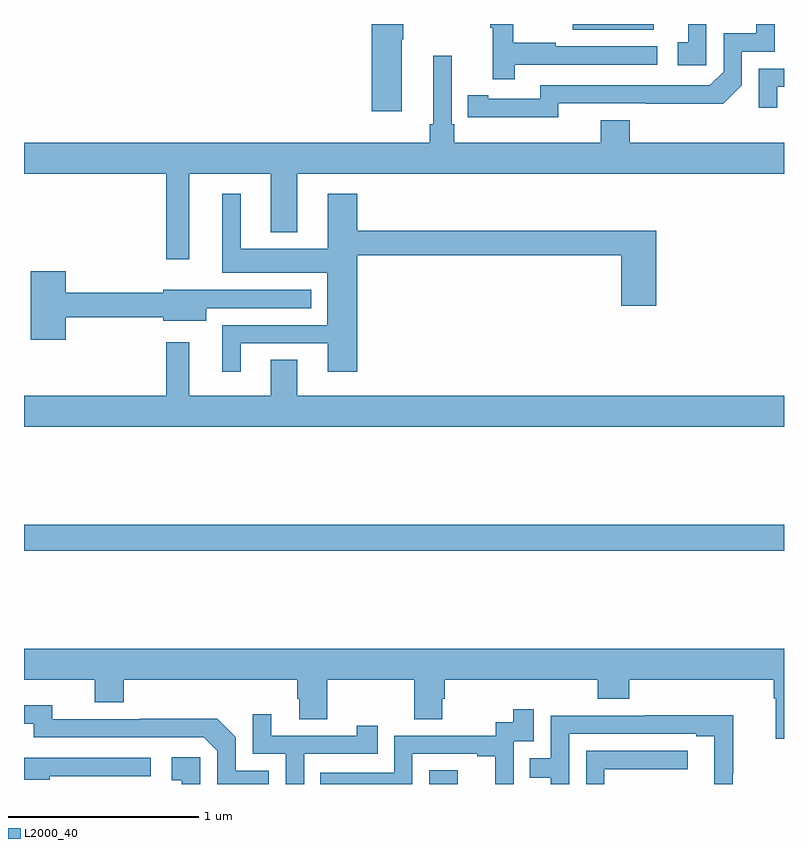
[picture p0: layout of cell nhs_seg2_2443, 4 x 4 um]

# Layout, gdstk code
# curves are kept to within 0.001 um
import gdstk
lib = gdstk.Library(unit=1e-6, precision=1e-09)
def R(c, l, rs):  # rectangles x0, y0, x1, y1
    for r in rs: c.add(gdstk.rectangle(r[:2], r[2:], *l))
def P(c, l, *ps):  # polygons
    for p in ps: c.add(gdstk.Polygon(p, *l))
L2000_40 = (2000, 40)

nhs_seg2_2443 = lib.new_cell('nhs_seg2_2443')
R(nhs_seg2_2443, L2000_40, [(241.134,601.8,241.282,601.873), (239,603.028,243,603.164), (241.887,605.771,242.314,605.8)])
P(nhs_seg2_2443, L2000_40, [(241.812,605.382),(242.68,605.381),(242.778,605.478),(242.778,605.655),(242.952,605.655),(242.952,605.8),(242.855,605.8),(242.855,605.751),(242.682,605.751),(242.682,605.55),(242.61,605.478),(241.716,605.478),(241.716,605.406),(241.444,605.406),(241.444,605.426),(241.336,605.426),(241.336,605.31),(241.812,605.309)],
  [(240.988,605.719),(240.996,605.719),(240.996,605.8),(240.83,605.8),(240.83,605.34),(240.988,605.34)],
  [(241.583,605.586),(242.332,605.586),(242.332,605.682),(241.799,605.682),(241.799,605.702),(241.576,605.702),(241.576,605.8),(241.455,605.8),(241.455,605.779),(241.466,605.779),(241.466,605.508),(241.583,605.508)],
  [(242.592,605.8),(242.495,605.8),(242.495,605.703),(242.442,605.703),(242.442,605.583),(242.592,605.583)],
  [(239.869,605.012),(240.299,605.012),(240.299,604.703),(240.439,604.703),(240.439,605.012),(243,605.012),(243,605.176),(242.189,605.176),(242.189,605.293),(242.036,605.293),(242.036,605.176),(241.265,605.176),(241.265,605.272),(241.251,605.272),(241.251,605.632),(241.154,605.632),(241.154,605.272),(241.135,605.272),(241.135,605.176),(239,605.176),(239,605.012),(239.748,605.012),(239.748,604.563),(239.869,604.563)],
  [(242.965,605.469),(243,605.469),(243,605.565),(242.868,605.565),(242.868,605.358),(242.965,605.358)],
  [(240.142,604.119),(240.599,604.119),(240.599,603.969),(240.755,603.969),(240.755,604.582),(242.144,604.582),(242.144,604.317),(242.327,604.317),(242.327,604.711),(240.755,604.711),(240.755,604.906),(240.599,604.906),(240.599,604.618),(240.142,604.618),(240.142,604.906),(240.044,604.906),(240.044,604.49),(240.596,604.49),(240.596,604.215),(240.044,604.215),(240.044,603.969),(240.142,603.969)],
  [(239.219,604.257),(239.732,604.257),(239.732,604.238),(239.959,604.238),(239.959,604.305),(240.511,604.305),(240.511,604.401),(239.955,604.401),(239.955,604.402),(239.732,604.402),(239.732,604.385),(239.219,604.385),(239.219,604.498),(239.036,604.498),(239.036,604.137),(239.219,604.137)],
  [(243,603.844),(240.439,603.844),(240.439,604.034),(240.299,604.034),(240.299,603.844),(239.869,603.844),(239.869,604.126),(239.748,604.126),(239.748,603.844),(239,603.844),(239,603.68),(243,603.68)],
  [(243,602.512),(239,602.512),(239,602.348),(239.372,602.348),(239.372,602.231),(239.525,602.231),(239.525,602.348),(240.437,602.348),(240.437,602.25),(240.449,602.25),(240.449,602.14),(240.597,602.14),(240.597,602.348),(241.054,602.348),(241.054,602.14),(241.201,602.14),(241.201,602.25),(241.214,602.25),(241.214,602.348),(242.021,602.348),(242.021,602.249),(242.186,602.249),(242.186,602.348),(242.945,602.348),(242.945,602.252),(242.957,602.252),(242.957,602.039),(243,602.039)],
  [(240.288,601.869),(240.114,601.869),(240.114,602.046),(240.016,602.144),(239.608,602.144),(239.608,602.142),(239.148,602.142),(239.148,602.215),(239,602.215),(239,602.118),(239.052,602.118),(239.052,602.046),(239.946,602.046),(240.018,601.974),(240.018,601.8),(240.288,601.8)],
  [(241.044,601.959),(241.385,601.959),(241.385,601.947),(241.481,601.947),(241.481,601.8),(241.578,601.8),(241.578,602.025),(241.683,602.025),(241.683,602.194),(241.575,602.194),(241.575,602.124),(241.482,602.124),(241.482,602.055),(240.948,602.055),(240.948,601.86),(240.559,601.86),(240.559,601.8),(241.044,601.8)],
  [(240.474,601.959),(240.863,601.959),(240.863,602.107),(240.752,602.107),(240.752,602.055),(240.301,602.055),(240.301,602.167),(240.204,602.167),(240.204,601.959),(240.378,601.959),(240.378,601.8),(240.474,601.8)],
  [(241.869,602.064),(242.537,602.064),(242.537,602.052),(242.634,602.052),(242.634,601.8),(242.73,601.8),(242.73,601.855),(242.733,601.855),(242.733,602.162),(242.269,602.162),(242.269,602.16),(241.773,602.16),(241.773,601.935),(241.663,601.935),(241.663,601.834),(241.773,601.834),(241.773,601.8),(241.869,601.8)],
  [(242.055,601.878),(242.494,601.878),(242.494,601.974),(241.959,601.974),(241.959,601.8),(242.055,601.8)],
  [(239.928,601.942),(239.778,601.942),(239.778,601.821),(239.831,601.821),(239.831,601.8),(239.928,601.8)],
  [(239.135,601.842),(239.668,601.842),(239.668,601.938),(239,601.938),(239,601.822),(239.135,601.822)])

lib.write_gds('nhs_seg2_2443.gds')
